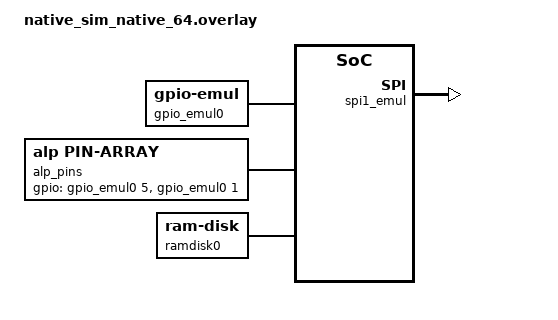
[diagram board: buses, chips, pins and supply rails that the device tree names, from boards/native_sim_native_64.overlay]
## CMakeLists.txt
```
# SPDX-License-Identifier: Apache-2.0

cmake_minimum_required(VERSION 3.20)

# The E1M-EVK microSD slot (sdhc0 + the "SD" disk). native_sim has no SD host,
# so the build-only CI target skips the shield.
if(NOT "${BOARD}" MATCHES "^native_sim")
  list(APPEND SHIELD e1m_evk_microsd)
endif()

find_package(Zephyr REQUIRED HINTS $ENV{ZEPHYR_BASE})
project(aen_sdcard_file LANGUAGES C)

target_sources(app PRIVATE src/main.c)
target_sources(app PRIVATE src/cc3501e_bridge.c)
target_sources(app PRIVATE src/cc3501e_gpio_routes.c)
```

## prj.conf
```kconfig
# SPDX-License-Identifier: Apache-2.0
#
# aen-sdcard-file: FatFs on the E1M-EVK microSD slot.
#
# The SD host + the "SD" disk come from the e1m_evk_microsd shield (set in
# CMakeLists.txt); FatFs itself comes from `libraries: [fatfs]` in
# board.yaml. SPI/GPIO for the CC3501E bridge come from `peripherals:`.
CONFIG_PRINTK=y
CONFIG_LOG=y
CONFIG_MAIN_STACK_SIZE=8192

# The link address comes from each board's code partition
# (CONFIG_USE_DT_CODE_PARTITION): HE slot0 0x80010000, HP slot0 per board.

# The SDIO mux enable (E1M IO20) is a CC3501E GPIO: route alp_gpio through
# the bridge (cc3501e_gpio_routes[] in src/cc3501e_gpio_routes.c).
CONFIG_ALP_SDK_GPIO_CC3501E_PROXY=y

# exFAT: most microSDXC cards (> 32 GB) ship formatted exFAT, and exFAT
# needs long file names. Neither is on by default in Zephyr.
CONFIG_FS_FATFS_EXFAT=y
CONFIG_FS_FATFS_LFN=y
# Never format a card that fails to mount -- report the error instead.
CONFIG_FS_FATFS_MOUNT_MKFS=n

# Bridge SPI: keep every phase on PIO (see aen-cc3501e-bringup/prj.conf for
# the measurements behind this threshold).
CONFIG_DMA=y
CONFIG_DMA_PL330_ALIF=y
CONFIG_DMA_ALIF_EVENT_ROUTER=y
CONFIG_SPI_DW_ALIF_USE_DMA=y
CONFIG_SPI_DW_ALIF_DMA_MIN_LEN=8192
CONFIG_SPI_DW_ALIF_PACK32=y
```

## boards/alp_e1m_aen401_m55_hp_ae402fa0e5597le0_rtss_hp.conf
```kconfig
# SPDX-License-Identifier: Apache-2.0
#
# E1M-AEN401 (Ensemble E4, M55-HP).  The bridge runs in PIO mode on the E4 (the
# 2026-10-12 AEN401 bench run): dma0 / evtrtr0 are not verified there.
CONFIG_DMA=n
CONFIG_SPI_DW_ALIF_USE_DMA=n
```

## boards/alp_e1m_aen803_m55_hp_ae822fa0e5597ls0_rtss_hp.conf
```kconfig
# SPDX-License-Identifier: Apache-2.0
#
# M55-HP: the CC3501E bridge runs in PIO mode (see the overlay).
CONFIG_DMA=n
CONFIG_SPI_DW_ALIF_USE_DMA=n
```

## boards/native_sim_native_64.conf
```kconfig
# SPDX-License-Identifier: Apache-2.0
#
# native_sim has no real SPI controller; pull in the emul SPI driver so
# the alp-spi1 bus enumerates at boot.  Auto-loaded by Zephyr when
# building for native_sim/native/64.  (On the real AEN board the alp-spi1
# alias resolves to the dwc-ssi SPI1 controller instead -- see
# boards/alp_e1m_aen801_m55_he_ae822fa0e5597ls0_rtss_he.overlay.)

CONFIG_EMUL=y
CONFIG_SPI_EMUL=y
CONFIG_DISK_ACCESS=y
```

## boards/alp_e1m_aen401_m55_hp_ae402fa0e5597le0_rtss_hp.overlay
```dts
/*
 * Copyright (c) 2026 Alp Lab AB
 * SPDX-License-Identifier: Apache-2.0
 *
 * Inter-chip wiring for the microSD file example on the E1M-AEN401 (Alif
 * Ensemble E4, M55-HP).  Declares the SoM-internal Alif<->CC3501E link:
 * the SPI1 master bus + the two host-driven control nets, all from
 * metadata/e1m_modules/aen/inter-chip.tsv:
 *
 *   SPI1.SCK  P14_6   SPI1.MOSI P14_5   SPI1.MISO P14_4   (-> CC3501E GPIO_27/28/29)
 *   WIFI_EN   P15_5 (lpgpio 5)          E_WIFI.NRST P15_1_FLEX (lpgpio 1)
 *
 * "P15" is the Alif low-power GPIO island (lpgpio @ 0x42002000); the
 * _FLEX pads are its pins.  P14 is a main-domain port used here purely as
 * the SPI1 function via pinctrl, so no gpio14 controller node is needed.
 *
 * BENCH-UNVERIFIED.  Like the rest of the alp-sdk Alif peripheral layer
 * (zephyr/dts/alif/ensemble_e8_peripherals.dtsi), the addresses/IRQs are
 * transcribed from the Apache-2.0 alifsemi/zephyr_alif fork + the AE822
 * TRM and have NOT been validated on silicon.  The SPI1 pinctrl macros are
 * RESOLVED against zephyr/dt-bindings/pinctrl/alif-ensemble-pinctrl.h
 * (SPI1 on P14_4/5/6 = alt-2, the `_C` suffix) and the LP-GPIO mux is the
 * reset default (alt-0 = LPGPIO); the one remaining genuine unknown is the
 * SPI1 IRQ number (upstream Zephyr declares no SPI node, so it is not in
 * the build tree) -- confirm it against the AE822 TRM before relying on
 * the interrupt-driven path on silicon.
 *
 * The on-module EEPROM manifest bus (i2c2, `alp-i2c0`) comes from the board
 * layer (alp_e1m_aen401_m55_hp-on-module.dtsi + -pinctrl.dtsi), not from here.
 */

#include <zephyr/dt-bindings/pinctrl/alif-ensemble-pinctrl.h>
#include <zephyr/dt-bindings/gpio/gpio.h>
#include <zephyr/dt-bindings/i2c/i2c.h>

&pinctrl {
	/*
	 * SPI1 master on P14_6 (SCK) / P14_5 (MOSI) / P14_4 (MISO).
	 *
	 * RESOLVED against alif-ensemble-pinctrl.h: the SPI1 functions on these
	 * three pads are alt-2, named with the `_C` suffix
	 * (PIN_P14_6__SPI1_SCLK_C = ALIF_PINMUX(14, 6, 2), etc.).  input-enable
	 * on MISO so the pad can sense the slave's drive (the same read-enable
	 * requirement the I2C pads need on this SoC).
	 */
	pinctrl_spi1: pinctrl_spi1 {
		group0 {
			/* Hardware SS0 chip-select (P14_7 = SPI1_SS0_C) -- dwc-ssi master
			 * drives SS0 per transfer to frame the CC3501E slave. */
			pinmux = <PIN_P14_6__SPI1_SCLK_C>, <PIN_P14_5__SPI1_MOSI_C>,
				 <PIN_P14_7__SPI1_SS0_C>;
		};
		group1 {
			pinmux = <PIN_P14_4__SPI1_MISO_C>;
			input-enable;
		};

		/*
		 * P2_6 (E1M AH7 / I2S1_SCLK) is muxed as a plain GPIO input here -- but NOT for
		 * the cc3501e_reply_gate() READY use (cc3501e_bridge.c does not wire
		 * fw->ready_pin: on the R2 module this bench currently holds, P2_6
		 * is E1M pad AH7 / I2S1_SCLK, the EVK's Arduino CK_RST net, NOT CC35's
		 * GPIO17 READY -- see cc3501e_reply_gate()'s own doc comment in
		 * chips/cc3501e/cc3501e_core.c). This group exists ONLY for the
		 * alp,cc3501e-attn node below, which reads the same pad directly for
		 * the async-event attention edge (#1721/#130) -- a separate mechanism
		 * from the reply-gate.
		 *
		 * REVISION CAVEAT: the "clean 1.767 V line idling HIGH with narrow LOW
		 * pulses" once measured here (scope 2026-08-24) was on a separately
		 * hand-reworked r1 unit (its own serial was never recorded -- see
		 * changelog.d/1799.md) where GPIO17 really was bodge-wired to P2_6 --
		 * not evidence for the R2 module. On a standard R2 module this pad is
		 * not connected to the CC3501E at all, so the attn node below will
		 * simply never fire; it costs nothing to leave enabled.
		 *
		 * On Alif the pad INPUT BUFFER is a PADCTRL bit that only pinctrl sets
		 * -- gpio_dw drives direction in the controller and never touches the
		 * pad, and snps,designware-gpio has no pinctrl-0 property of its own --
		 * so without this group alp_gpio_read(P2_6) would read 0 forever
		 * regardless of what (if anything) drives it. It lives HERE rather than
		 * in a standalone state applied at runtime because P2_6's alternate
		 * function is SPI1_SCLK_A: a second pinctrl pass after SPI1 is up
		 * killed the bridge on silicon. In the SPI driver's single init pass it
		 * is inert.
		 */
		group2 {
			pinmux = <PIN_P2_6__GPIO>;
			input-enable;
		};
	};
};

/*
 * DWC_ssi SPI1 (AHB) -- the on-SoM CC3501E inter-chip link.  Deliberately
 * NOT in ensemble_e8_peripherals.dtsi (that dtsi declares only the
 * customer-facing edge SPI0); this is the SoM-internal Wi-Fi link, so it
 * lives in the consuming app's overlay.  Same driver + flags as spi0
 * (compatible "alif,dwc-ssi-spi", dwc-ssi layout, fifo-depth 16,
 * frequency-only ALIF_SPI_CLK).
 *
 * reg 0x48104000 = SPI1 base (spi0 is 0x48103000, +0x1000/instance).
 * BENCH-TBD: interrupts = <138 3> follows the consecutive pattern from
 * spi0's IRQ 137 -- confirm SPI1_IRQ against the fork's e1.dtsi / TRM.
 *
 * No cs-gpios: P14_7 is muxed as SPI1_SS0_C above and the dwc-ssi peripheral
 * drives hardware SS0 per transfer.  The host opens ALP_SPI_NO_CS so no GPIO CS
 * is installed, allowing the SPI driver to use its hardware slave-select path.
 */
&clockctrl {
	status = "okay";
};

&soc {
	cc3501e_spi: spi@48104000 {
		compatible = "alif,dwc-ssi-spi";
		#address-cells = <1>;
		#size-cells = <0>;
		reg = <0x48104000 0x1000>;
		interrupts = <138 3>;          /* SPI1_IRQ_IRQn = 138 (AE402 rtss_hp soc.h) */
		clocks = <&clockctrl ALIF_SPI_CLK>;
		/*
		 * ROOT-CAUSE FIX 2026-06-16: spi_dw_alif's configure takes the
		 * clock-control path when no clock-frequency is set, and that path
		 * fails (-EINVAL) for the gateless dummy ALIF_SPI_CLK -> every
		 * transceive returned ALP_ERR_INVAL with zero SCLK (witness fail_step=1,
		 * zerr=-EINVAL). Providing the SSI input clock here makes the driver
		 * use it directly and skip the failing clock-control path. The SSI
		 * functional clock is 200 MHz (E8 HWRM); BAUDR = clk/freq_hz.
		 */
		clock-frequency = <200000000>; /* real SSI functional clock (was mis-set 400M; proven via BAUDR scaling) */
		dwc-ssi;
		fifo-depth = <16>;
		/* MISO capture delay in SSI clocks -- INERT here, and NOT what the link
		 * runs at.  spi_dw_alif.c writes RX_SAMPLE_DLY (0xf0) from this property
		 * at init and at PM resume only; spi_dw_configure never touches the
		 * register, so src/cc3501e_bridge.c's poke right after alp_spi_open()
		 * overwrites this value with CC3501E_BRIDGE_RX_SAMPLE_DLY.
		 *
		 * It is kept because that poke is guarded on the constant being non-zero:
		 * set the constant to 0 and this property is what survives.
		 *
		 * The earlier claim here -- that 0 "fails outright" and 4 "fails too" --
		 * is contradicted by the N = 0..10 sweep on E1M-AEN803 serial
		 * 2026W36-0002 at 25 MHz: 0 and 4 each passed 3 runs of 3, and 8 is the
		 * value that hard-fails.  Sweep the constant, not this property; the
		 * measurements are recorded in src/cc3501e_bridge.h. */
		rx-delay = <2>;
		pinctrl-0 = <&pinctrl_spi1>;
		pinctrl-names = "default";
		status = "okay";
	};
};

/*
 * Enable the LP GPIO island so WIFI_EN (P15_5) and E_WIFI.NRST
 * (P15_1_FLEX) are drivable as outputs.  gpio_dw needs no clocks/pinctrl
 * on the controller, and the pad->GPIO mux needs no pinctrl group either:
 * RESOLVED against alif-ensemble-pinctrl.h -- P15_1/P15_5 function 0 (the
 * reset default) IS LPGPIO (PIN_P15_x__LPGPIO = ALIF_PINMUX(15, x, 0)).
 */
&lpgpio {
	status = "okay";
};

/*
 * gpio2 (P2_6) for the alp,cc3501e-attn async-event node below -- NOT the
 * cc3501e_reply_gate() READY input: P2_6 is not CC35 GPIO17 on this R2
 * module (see the pinctrl_spi1 group2 comment above). P2_6's reset-default
 * mux IS function 0 = GPIO (PIN_P2_6__GPIO), but the pad still needs an
 * input-enable group to turn its INPUT BUFFER on -- that lives in
 * pinctrl_spi1 group2 above. gpio_dw defaults the pin to input. */
&gpio2 {
	status = "okay";
};

/*
 * No bridge DMA on the E4: the CC3501E link, the EEPROM read and the 4-bit SD
 * card were bench-run on an E1M-AEN401 M55-HP on 2026-10-12 with the bridge in
 * PIO mode; dma0 / evtrtr0 exist in ensemble_e4_peripherals.dtsi but are not
 * verified on the E4.
 */

/ {
	aliases {
		/* bus_id 1 in alp_spi_open() -> this controller. */
		alp-spi1 = &cc3501e_spi;

		/*
		 * Attention line for CONFIG_ALP_SDK_CC3501E_EVENT_IRQ (#130): the
		 * companion console's edge ISR schedules a GET_PENDING_EVENTS drain
		 * instead of waiting for the ~500 ms timer poll.
		 *
		 * SAME PIN &gpio2 6 (P2_6) the pinctrl group2 comment above enables --
		 * there is no `alp_pins[2]` entry for it (cc3501e_bridge.c does not
		 * wire fw->ready_pin on this R2 module; see that comment).  On a unit
		 * where this net genuinely carries CC35 GPIO17 -- a hand-reworked r1
		 * unit, not the stock R2 module -- there is one slave->master wire and
		 * it already carries READY flow control; the firmware (built with
		 * CC3501E_ATTN_PULSE) gives it an edge when an event is queued while
		 * the bridge is idle.  Draining on ANY rising edge is safe -- an empty
		 * ring answers with an empty list -- so the host never has to tell
		 * attention from an ordinary re-arm.
		 *
		 * BODGE-GATED: this net is a rev-1 wire, absent on the stock EVK,
		 * which is why CONFIG_ALP_SDK_CC3501E_EVENT_IRQ stays default-off.
		 * The alias existing does nothing on its own.
		 */
		cc3501e-attn = &cc3501e_attn;
	};

	/* Node the cc3501e-attn alias points at; `gpios` is what
	 * GPIO_DT_SPEC_GET(DT_ALIAS(cc3501e_attn), gpios) reads. */
	/* NO compatible: GPIO_DT_SPEC_GET() only needs the `gpios` phandle-array.
	 * Declaring "alp,pin-array" here made a SECOND node of that compatible and
	 * broke the SDK's pin-array resolution outright -- bridge bring-up failed
	 * with err=-1 ("SPI bus 1 / WIFI_EN+nRESET absent?") because alp_pins no
	 * longer resolved. Bench-caught 2026-08-26. */
	cc3501e_attn: cc3501e-attn {
		compatible = "alp,cc3501e-attn";
		gpios = <&gpio2 6 GPIO_ACTIVE_HIGH>;
	};

	/*
	 * Compact 2-entry control array for the SoM-internal CC3501E control
	 * nets, in the order the app's CC3501E_PIN_* indices expect.  These are
	 * NOT E1M edge pads, so this bring-up app intentionally does NOT use the
	 * 52-slot positional E1M map; a production board file appends such
	 * SoM-internal control nets after the E1M pad slots.  No READY entry
	 * here -- P2_6/&gpio2 stays enabled above only for the cc3501e-attn node,
	 * which reads it directly, not through this array. */
	alp_pins: alp-pins {
		compatible = "alp,pin-array";
		gpios = <&lpgpio 5 GPIO_ACTIVE_HIGH>, /* [0] WIFI_EN     (P15_5)      */
			<&lpgpio 1 GPIO_ACTIVE_HIGH>; /* [1] E_WIFI.NRST (P15_1_FLEX) */
	};
};

/*
 * The M55-HP TCM global windows (ITCM 0x50000000, DTCM 0x50800000) come from
 * the board devicetree; nothing to add here.
 */
```

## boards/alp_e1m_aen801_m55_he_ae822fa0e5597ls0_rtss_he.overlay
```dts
/*
 * Copyright (c) 2026 Alp Lab AB
 * SPDX-License-Identifier: Apache-2.0
 *
 * Inter-chip wiring for the microSD file example on the E1M-AEN801 (Alif
 * Ensemble E8, M55-HE).  Declares the SoM-internal Alif<->CC3501E link:
 * the SPI1 master bus + the two host-driven control nets, all from
 * metadata/e1m_modules/aen/inter-chip.tsv:
 *
 *   SPI1.SCK  P14_6   SPI1.MOSI P14_5   SPI1.MISO P14_4   (-> CC3501E GPIO_27/28/29)
 *   WIFI_EN   P15_5 (lpgpio 5)          E_WIFI.NRST P15_1_FLEX (lpgpio 1)
 *
 * "P15" is the Alif low-power GPIO island (lpgpio @ 0x42002000); the
 * _FLEX pads are its pins.  P14 is a main-domain port used here purely as
 * the SPI1 function via pinctrl, so no gpio14 controller node is needed.
 *
 * BENCH-UNVERIFIED.  Like the rest of the alp-sdk Alif peripheral layer
 * (zephyr/dts/alif/ensemble_e8_peripherals.dtsi), the addresses/IRQs are
 * transcribed from the Apache-2.0 alifsemi/zephyr_alif fork + the AE822
 * TRM and have NOT been validated on silicon.  The SPI1 pinctrl macros are
 * RESOLVED against zephyr/dt-bindings/pinctrl/alif-ensemble-pinctrl.h
 * (SPI1 on P14_4/5/6 = alt-2, the `_C` suffix) and the LP-GPIO mux is the
 * reset default (alt-0 = LPGPIO); the one remaining genuine unknown is the
 * SPI1 IRQ number (upstream Zephyr declares no SPI node, so it is not in
 * the build tree) -- confirm it against the AE822 TRM before relying on
 * the interrupt-driven path on silicon.
 *
 * Also enables i2c2 (P5_6 SCL_C / P5_7 SDA_C) + the `alp-i2c0` alias -- the
 * on-module EEPROM manifest bus alp_hw_info_read() opens as bus_id 0.
 * Without it the manifest read structurally cannot succeed and the banner
 * falls back to the raw board target instead of the SoM identity; see #1870.
 * Same pinctrl (input-enable + bias-pull-down) as
 * examples/peripheral-io/alp-console's bench-validated overlay -- do NOT
 * "correct" the pull direction.
 */

#include <zephyr/dt-bindings/pinctrl/alif-ensemble-pinctrl.h>
#include <zephyr/dt-bindings/gpio/gpio.h>
#include <zephyr/dt-bindings/dma/alif_dma_event_router.h>
#include <zephyr/dt-bindings/i2c/i2c.h>

&pinctrl {
	/*
	 * SPI1 master on P14_6 (SCK) / P14_5 (MOSI) / P14_4 (MISO).
	 *
	 * RESOLVED against alif-ensemble-pinctrl.h: the SPI1 functions on these
	 * three pads are alt-2, named with the `_C` suffix
	 * (PIN_P14_6__SPI1_SCLK_C = ALIF_PINMUX(14, 6, 2), etc.).  input-enable
	 * on MISO so the pad can sense the slave's drive (the same read-enable
	 * requirement the I2C pads need on this SoC).
	 */
	pinctrl_spi1: pinctrl_spi1 {
		group0 {
			/* Hardware SS0 chip-select (P14_7 = SPI1_SS0_C) -- dwc-ssi master
			 * drives SS0 per transfer to frame the CC3501E slave. */
			pinmux = <PIN_P14_6__SPI1_SCLK_C>, <PIN_P14_5__SPI1_MOSI_C>,
				 <PIN_P14_7__SPI1_SS0_C>;
		};
		group1 {
			pinmux = <PIN_P14_4__SPI1_MISO_C>;
			input-enable;
		};

		/*
		 * P2_6 (E1M AH7 / I2S1_SCLK) is muxed as a plain GPIO input here -- but NOT for
		 * the cc3501e_reply_gate() READY use (cc3501e_bridge.c does not wire
		 * fw->ready_pin: on the R2 module this bench currently holds, P2_6
		 * is E1M pad AH7 / I2S1_SCLK, the EVK's Arduino CK_RST net, NOT CC35's
		 * GPIO17 READY -- see cc3501e_reply_gate()'s own doc comment in
		 * chips/cc3501e/cc3501e_core.c). This group exists ONLY for the
		 * alp,cc3501e-attn node below, which reads the same pad directly for
		 * the async-event attention edge (#1721/#130) -- a separate mechanism
		 * from the reply-gate.
		 *
		 * REVISION CAVEAT: the "clean 1.767 V line idling HIGH with narrow LOW
		 * pulses" once measured here (scope 2026-08-24) was on a separately
		 * hand-reworked r1 unit (its own serial was never recorded -- see
		 * changelog.d/1799.md) where GPIO17 really was bodge-wired to P2_6 --
		 * not evidence for the R2 module. On a standard R2 module this pad is
		 * not connected to the CC3501E at all, so the attn node below will
		 * simply never fire; it costs nothing to leave enabled.
		 *
		 * On Alif the pad INPUT BUFFER is a PADCTRL bit that only pinctrl sets
		 * -- gpio_dw drives direction in the controller and never touches the
		 * pad, and snps,designware-gpio has no pinctrl-0 property of its own --
		 * so without this group alp_gpio_read(P2_6) would read 0 forever
		 * regardless of what (if anything) drives it. It lives HERE rather than
		 * in a standalone state applied at runtime because P2_6's alternate
		 * function is SPI1_SCLK_A: a second pinctrl pass after SPI1 is up
		 * killed the bridge on silicon. In the SPI driver's single init pass it
		 * is inert.
		 */
		group2 {
			pinmux = <PIN_P2_6__GPIO>;
			input-enable;
		};
	};

	/* I2C2 master (EEPROM manifest bus): SCL P5_6 / SDA P5_7 (_C).  Same
	 * pad config as alp-console's bench-validated overlay -- input-enable
	 * for ACK-detect, bias-pull-down (the pad DSC value Alif's reference
	 * uses; the bus is pulled up on the carrier via R95/R96). */
	pinctrl_i2c2: pinctrl_i2c2 {
		group0 {
			pinmux = <PIN_P5_6__I2C2_SCL_C>, <PIN_P5_7__I2C2_SDA_C>;
			input-enable;
			bias-pull-down;
		};
	};
};

/*
 * DWC_ssi SPI1 (AHB) -- the on-SoM CC3501E inter-chip link.  Deliberately
 * NOT in ensemble_e8_peripherals.dtsi (that dtsi declares only the
 * customer-facing edge SPI0); this is the SoM-internal Wi-Fi link, so it
 * lives in the consuming app's overlay.  Same driver + flags as spi0
 * (compatible "alif,dwc-ssi-spi", dwc-ssi layout, fifo-depth 16,
 * frequency-only ALIF_SPI_CLK).
 *
 * reg 0x48104000 = SPI1 base (spi0 is 0x48103000, +0x1000/instance).
 * BENCH-TBD: interrupts = <138 3> follows the consecutive pattern from
 * spi0's IRQ 137 -- confirm SPI1_IRQ against the fork's e1.dtsi / TRM.
 *
 * No cs-gpios: P14_7 is muxed as SPI1_SS0_C above and the dwc-ssi peripheral
 * drives hardware SS0 per transfer.  The host opens ALP_SPI_NO_CS so no GPIO CS
 * is installed, allowing the SPI driver to use its hardware slave-select path.
 */
&clockctrl {
	status = "okay";
};

&soc {
	cc3501e_spi: spi@48104000 {
		compatible = "alif,dwc-ssi-spi";
		#address-cells = <1>;
		#size-cells = <0>;
		reg = <0x48104000 0x1000>;
		interrupts = <138 3>;          /* BENCH-TBD: confirm SPI1 IRQ */
		clocks = <&clockctrl ALIF_SPI_CLK>;
		/*
		 * ROOT-CAUSE FIX 2026-06-16: spi_dw_alif's configure takes the
		 * clock-control path when no clock-frequency is set, and that path
		 * fails (-EINVAL) for the gateless dummy ALIF_SPI_CLK -> every
		 * transceive returned ALP_ERR_INVAL with zero SCLK (witness fail_step=1,
		 * zerr=-EINVAL). Providing the SSI input clock here makes the driver
		 * use it directly and skip the failing clock-control path. The SSI
		 * functional clock is 200 MHz (E8 HWRM); BAUDR = clk/freq_hz.
		 */
		clock-frequency = <200000000>; /* real SSI functional clock (was mis-set 400M; proven via BAUDR scaling) */
		dwc-ssi;
		fifo-depth = <16>;
		/* MISO capture delay in SSI clocks -- INERT here, and NOT what the link
		 * runs at.  spi_dw_alif.c writes RX_SAMPLE_DLY (0xf0) from this property
		 * at init and at PM resume only; spi_dw_configure never touches the
		 * register, so src/cc3501e_bridge.c's poke right after alp_spi_open()
		 * overwrites this value with CC3501E_BRIDGE_RX_SAMPLE_DLY.
		 *
		 * It is kept because that poke is guarded on the constant being non-zero:
		 * set the constant to 0 and this property is what survives.
		 *
		 * The earlier claim here -- that 0 "fails outright" and 4 "fails too" --
		 * is contradicted by the N = 0..10 sweep on E1M-AEN803 serial
		 * 2026W36-0002 at 25 MHz: 0 and 4 each passed 3 runs of 3, and 8 is the
		 * value that hard-fails.  Sweep the constant, not this property; the
		 * measurements are recorded in src/cc3501e_bridge.h. */
		rx-delay = <2>;
		pinctrl-0 = <&pinctrl_spi1>;
		pinctrl-names = "default";
		status = "okay";
	};
};

/*
 * Enable the LP GPIO island so WIFI_EN (P15_5) and E_WIFI.NRST
 * (P15_1_FLEX) are drivable as outputs.  gpio_dw needs no clocks/pinctrl
 * on the controller, and the pad->GPIO mux needs no pinctrl group either:
 * RESOLVED against alif-ensemble-pinctrl.h -- P15_1/P15_5 function 0 (the
 * reset default) IS LPGPIO (PIN_P15_x__LPGPIO = ALIF_PINMUX(15, x, 0)).
 */
&lpgpio {
	status = "okay";
};

/*
 * gpio2 (P2_6) for the alp,cc3501e-attn async-event node below -- NOT the
 * cc3501e_reply_gate() READY input: P2_6 is not CC35 GPIO17 on this R2
 * module (see the pinctrl_spi1 group2 comment above). P2_6's reset-default
 * mux IS function 0 = GPIO (PIN_P2_6__GPIO), but the pad still needs an
 * input-enable group to turn its INPUT BUFFER on -- that lives in
 * pinctrl_spi1 group2 above. gpio_dw defaults the pin to input. */
&gpio2 {
	status = "okay";
};

/*
 * Host-side peripheral DMA for continuous SPI streams over the CC3501E bridge.
 * SPI1 is a MAIN-domain peripheral, so per the AE822 DFP soc_dma_map (SPI1_DMA=0,
 * group 2, TX req 21 / RX req 17) it routes through the SYSTOP DMA0 via its event
 * router evtrtr0 (4 groups -> group 2 valid) -- NOT the M55-HE-local DMA2/evtrtr2
 * (1 group, for LP peripherals; wiring SPI1 there leaves the channel Waiting-For-
 * Peripheral forever -- SPI1's request line isn't on the HE router).  DMA0's clock
 * is SYSTOP (already on -- the app drives SPI1/GPIO in the same region); its
 * PL330 boot-manager security latch (CLKCTRL_PER_MST) is in dma_alif_boot_latch.c.
 * The fork PL330 driver statically allocates the per-channel ucode + remaps it via
 * local_to_global(), so no external `microcode` prop is needed.
 *
 * dma0 + evtrtr0 are now declared in ensemble_e8_peripherals.dtsi (disabled
 * by default, alp-sdk issue #1815); this overlay only enables them.
 */
&dma0 {
	status = "okay";
};

&evtrtr0 {
	status = "okay";
};

/*
 * Route the bridge SPI1 through evtrtr0 to DMA0.  Cell encoding
 * (ALIF_DMA_ENCODE(channel, dma_group, handshake), periph_req):
 *   TX = PL330 ch2, evtrtr group 2, handshake on, SPI1 TX periph req 21
 *   RX = PL330 ch3, evtrtr group 2, handshake on, SPI1 RX periph req 17
 * (AE822 DFP soc_dma_map.h: SPI1 group 2, TX 21 / RX 17.)
 */
&cc3501e_spi {
	dmas = <&evtrtr0 ALIF_DMA_ENCODE(2, 2, 1) 21>,
	       <&evtrtr0 ALIF_DMA_ENCODE(3, 2, 1) 17>;
	dma-names = "txdma", "rxdma";
};

&i2c2 {
	status = "okay";
	pinctrl-0 = <&pinctrl_i2c2>;
	pinctrl-names = "default";
	clock-frequency = <I2C_BITRATE_STANDARD>;   /* 100 kHz */
};

/ {
	aliases {
		/* bus_id 1 in alp_spi_open() -> this controller. */
		alp-spi1 = &cc3501e_spi;
		alp-i2c0 = &i2c2;   /* bus 0 for alp_hw_info_read() -> EEPROM manifest */

		/*
		 * Attention line for CONFIG_ALP_SDK_CC3501E_EVENT_IRQ (#130): the
		 * companion console's edge ISR schedules a GET_PENDING_EVENTS drain
		 * instead of waiting for the ~500 ms timer poll.
		 *
		 * SAME PIN &gpio2 6 (P2_6) the pinctrl group2 comment above enables --
		 * there is no `alp_pins[2]` entry for it (cc3501e_bridge.c does not
		 * wire fw->ready_pin on this R2 module; see that comment).  On a unit
		 * where this net genuinely carries CC35 GPIO17 -- a hand-reworked r1
		 * unit, not the stock R2 module -- there is one slave->master wire and
		 * it already carries READY flow control; the firmware (built with
		 * CC3501E_ATTN_PULSE) gives it an edge when an event is queued while
		 * the bridge is idle.  Draining on ANY rising edge is safe -- an empty
		 * ring answers with an empty list -- so the host never has to tell
		 * attention from an ordinary re-arm.
		 *
		 * BODGE-GATED: this net is a rev-1 wire, absent on the stock EVK,
		 * which is why CONFIG_ALP_SDK_CC3501E_EVENT_IRQ stays default-off.
		 * The alias existing does nothing on its own.
		 */
		cc3501e-attn = &cc3501e_attn;
	};

	/* Node the cc3501e-attn alias points at; `gpios` is what
	 * GPIO_DT_SPEC_GET(DT_ALIAS(cc3501e_attn), gpios) reads. */
	/* NO compatible: GPIO_DT_SPEC_GET() only needs the `gpios` phandle-array.
	 * Declaring "alp,pin-array" here made a SECOND node of that compatible and
	 * broke the SDK's pin-array resolution outright -- bridge bring-up failed
	 * with err=-1 ("SPI bus 1 / WIFI_EN+nRESET absent?") because alp_pins no
	 * longer resolved. Bench-caught 2026-08-26. */
	cc3501e_attn: cc3501e-attn {
		compatible = "alp,cc3501e-attn";
		gpios = <&gpio2 6 GPIO_ACTIVE_HIGH>;
	};

	/*
	 * Compact 2-entry control array for the SoM-internal CC3501E control
	 * nets, in the order the app's CC3501E_PIN_* indices expect.  These are
	 * NOT E1M edge pads, so this bring-up app intentionally does NOT use the
	 * 52-slot positional E1M map; a production board file appends such
	 * SoM-internal control nets after the E1M pad slots.  No READY entry
	 * here -- P2_6/&gpio2 stays enabled above only for the cc3501e-attn node,
	 * which reads it directly, not through this array. */
	alp_pins: alp-pins {
		compatible = "alp,pin-array";
		gpios = <&lpgpio 5 GPIO_ACTIVE_HIGH>, /* [0] WIFI_EN     (P15_5)      */
			<&lpgpio 1 GPIO_ACTIVE_HIGH>; /* [1] E_WIFI.NRST (P15_1_FLEX) */
	};
};

/*
 * Global-bus aliases of the M55-HE TCMs, needed by hal_alif soc_memory_map.h
 * local_to_global() -- the PL330 (AXI master) reaches TCM-resident buffers only
 * via these global windows.  Values from the AE822 M55-HE map (sdk-alif fork
 * ensemble_rtss_he.dtsi): ITCM 0x0->0x58000000, DTCM 0x20000000->0x58800000.
 * (DMA stream buffers still belong in SRAM0 0x02000000, which is already global
 * -> local_to_global() returns it unchanged.)
 */
```

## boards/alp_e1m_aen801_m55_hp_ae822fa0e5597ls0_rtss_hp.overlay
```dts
/*
 * Copyright (c) 2026 Alp Lab AB
 * SPDX-License-Identifier: Apache-2.0
 *
 * Inter-chip wiring for the microSD file example on the E1M-AEN801 (Alif
 * Ensemble E8, M55-HP).  Declares the SoM-internal Alif<->CC3501E link:
 * the SPI1 master bus + the two host-driven control nets, all from
 * metadata/e1m_modules/aen/inter-chip.tsv:
 *
 *   SPI1.SCK  P14_6   SPI1.MOSI P14_5   SPI1.MISO P14_4   (-> CC3501E GPIO_27/28/29)
 *   WIFI_EN   P15_5 (lpgpio 5)          E_WIFI.NRST P15_1_FLEX (lpgpio 1)
 *
 * "P15" is the Alif low-power GPIO island (lpgpio @ 0x42002000); the
 * _FLEX pads are its pins.  P14 is a main-domain port used here purely as
 * the SPI1 function via pinctrl, so no gpio14 controller node is needed.
 *
 * BENCH-UNVERIFIED.  Like the rest of the alp-sdk Alif peripheral layer
 * (zephyr/dts/alif/ensemble_e8_peripherals.dtsi), the addresses/IRQs are
 * transcribed from the Apache-2.0 alifsemi/zephyr_alif fork + the AE822
 * TRM and have NOT been validated on silicon.  The SPI1 pinctrl macros are
 * RESOLVED against zephyr/dt-bindings/pinctrl/alif-ensemble-pinctrl.h
 * (SPI1 on P14_4/5/6 = alt-2, the `_C` suffix) and the LP-GPIO mux is the
 * reset default (alt-0 = LPGPIO); the one remaining genuine unknown is the
 * SPI1 IRQ number (upstream Zephyr declares no SPI node, so it is not in
 * the build tree) -- confirm it against the AE822 TRM before relying on
 * the interrupt-driven path on silicon.
 *
 * Also enables i2c2 (P5_6 SCL_C / P5_7 SDA_C) + the `alp-i2c0` alias -- the
 * on-module EEPROM manifest bus alp_hw_info_read() opens as bus_id 0.
 * Without it the manifest read structurally cannot succeed and the banner
 * falls back to the raw board target instead of the SoM identity; see #1870.
 * Same pinctrl (input-enable + bias-pull-down) as
 * examples/peripheral-io/alp-console's bench-validated overlay -- do NOT
 * "correct" the pull direction.
 */

#include <zephyr/dt-bindings/pinctrl/alif-ensemble-pinctrl.h>
#include <zephyr/dt-bindings/gpio/gpio.h>
#include <zephyr/dt-bindings/i2c/i2c.h>

&pinctrl {
	/*
	 * SPI1 master on P14_6 (SCK) / P14_5 (MOSI) / P14_4 (MISO).
	 *
	 * RESOLVED against alif-ensemble-pinctrl.h: the SPI1 functions on these
	 * three pads are alt-2, named with the `_C` suffix
	 * (PIN_P14_6__SPI1_SCLK_C = ALIF_PINMUX(14, 6, 2), etc.).  input-enable
	 * on MISO so the pad can sense the slave's drive (the same read-enable
	 * requirement the I2C pads need on this SoC).
	 */
	pinctrl_spi1: pinctrl_spi1 {
		group0 {
			/* Hardware SS0 chip-select (P14_7 = SPI1_SS0_C) -- dwc-ssi master
			 * drives SS0 per transfer to frame the CC3501E slave. */
			pinmux = <PIN_P14_6__SPI1_SCLK_C>, <PIN_P14_5__SPI1_MOSI_C>,
				 <PIN_P14_7__SPI1_SS0_C>;
		};
		group1 {
			pinmux = <PIN_P14_4__SPI1_MISO_C>;
			input-enable;
		};

		/*
		 * P2_6 (E1M AH7 / I2S1_SCLK) is muxed as a plain GPIO input here -- but NOT for
		 * the cc3501e_reply_gate() READY use (cc3501e_bridge.c does not wire
		 * fw->ready_pin: on the R2 module this bench currently holds, P2_6
		 * is E1M pad AH7 / I2S1_SCLK, the EVK's Arduino CK_RST net, NOT CC35's
		 * GPIO17 READY -- see cc3501e_reply_gate()'s own doc comment in
		 * chips/cc3501e/cc3501e_core.c). This group exists ONLY for the
		 * alp,cc3501e-attn node below, which reads the same pad directly for
		 * the async-event attention edge (#1721/#130) -- a separate mechanism
		 * from the reply-gate.
		 *
		 * REVISION CAVEAT: the "clean 1.767 V line idling HIGH with narrow LOW
		 * pulses" once measured here (scope 2026-08-24) was on a separately
		 * hand-reworked r1 unit (its own serial was never recorded -- see
		 * changelog.d/1799.md) where GPIO17 really was bodge-wired to P2_6 --
		 * not evidence for the R2 module. On a standard R2 module this pad is
		 * not connected to the CC3501E at all, so the attn node below will
		 * simply never fire; it costs nothing to leave enabled.
		 *
		 * On Alif the pad INPUT BUFFER is a PADCTRL bit that only pinctrl sets
		 * -- gpio_dw drives direction in the controller and never touches the
		 * pad, and snps,designware-gpio has no pinctrl-0 property of its own --
		 * so without this group alp_gpio_read(P2_6) would read 0 forever
		 * regardless of what (if anything) drives it. It lives HERE rather than
		 * in a standalone state applied at runtime because P2_6's alternate
		 * function is SPI1_SCLK_A: a second pinctrl pass after SPI1 is up
		 * killed the bridge on silicon. In the SPI driver's single init pass it
		 * is inert.
		 */
		group2 {
			pinmux = <PIN_P2_6__GPIO>;
			input-enable;
		};
	};

	/* I2C2 master (EEPROM manifest bus): SCL P5_6 / SDA P5_7 (_C).  Same
	 * pad config as alp-console's bench-validated overlay -- input-enable
	 * for ACK-detect, bias-pull-down (the pad DSC value Alif's reference
	 * uses; the bus is pulled up on the carrier via R95/R96). */
	pinctrl_i2c2: pinctrl_i2c2 {
		group0 {
			pinmux = <PIN_P5_6__I2C2_SCL_C>, <PIN_P5_7__I2C2_SDA_C>;
			input-enable;
			bias-pull-down;
		};
	};
};

/*
 * DWC_ssi SPI1 (AHB) -- the on-SoM CC3501E inter-chip link.  Deliberately
 * NOT in ensemble_e8_peripherals.dtsi (that dtsi declares only the
 * customer-facing edge SPI0); this is the SoM-internal Wi-Fi link, so it
 * lives in the consuming app's overlay.  Same driver + flags as spi0
 * (compatible "alif,dwc-ssi-spi", dwc-ssi layout, fifo-depth 16,
 * frequency-only ALIF_SPI_CLK).
 *
 * reg 0x48104000 = SPI1 base (spi0 is 0x48103000, +0x1000/instance).
 * BENCH-TBD: interrupts = <138 3> follows the consecutive pattern from
 * spi0's IRQ 137 -- confirm SPI1_IRQ against the fork's e1.dtsi / TRM.
 *
 * No cs-gpios: P14_7 is muxed as SPI1_SS0_C above and the dwc-ssi peripheral
 * drives hardware SS0 per transfer.  The host opens ALP_SPI_NO_CS so no GPIO CS
 * is installed, allowing the SPI driver to use its hardware slave-select path.
 */
&clockctrl {
	status = "okay";
};

&soc {
	cc3501e_spi: spi@48104000 {
		compatible = "alif,dwc-ssi-spi";
		#address-cells = <1>;
		#size-cells = <0>;
		reg = <0x48104000 0x1000>;
		interrupts = <138 3>;          /* SPI1_IRQ_IRQn = 138 (AE822 rtss_hp soc.h) */
		clocks = <&clockctrl ALIF_SPI_CLK>;
		/*
		 * ROOT-CAUSE FIX 2026-06-16: spi_dw_alif's configure takes the
		 * clock-control path when no clock-frequency is set, and that path
		 * fails (-EINVAL) for the gateless dummy ALIF_SPI_CLK -> every
		 * transceive returned ALP_ERR_INVAL with zero SCLK (witness fail_step=1,
		 * zerr=-EINVAL). Providing the SSI input clock here makes the driver
		 * use it directly and skip the failing clock-control path. The SSI
		 * functional clock is 200 MHz (E8 HWRM); BAUDR = clk/freq_hz.
		 */
		clock-frequency = <200000000>; /* real SSI functional clock (was mis-set 400M; proven via BAUDR scaling) */
		dwc-ssi;
		fifo-depth = <16>;
		/* MISO capture delay in SSI clocks -- INERT here, and NOT what the link
		 * runs at.  spi_dw_alif.c writes RX_SAMPLE_DLY (0xf0) from this property
		 * at init and at PM resume only; spi_dw_configure never touches the
		 * register, so src/cc3501e_bridge.c's poke right after alp_spi_open()
		 * overwrites this value with CC3501E_BRIDGE_RX_SAMPLE_DLY.
		 *
		 * It is kept because that poke is guarded on the constant being non-zero:
		 * set the constant to 0 and this property is what survives.
		 *
		 * The earlier claim here -- that 0 "fails outright" and 4 "fails too" --
		 * is contradicted by the N = 0..10 sweep on E1M-AEN803 serial
		 * 2026W36-0002 at 25 MHz: 0 and 4 each passed 3 runs of 3, and 8 is the
		 * value that hard-fails.  Sweep the constant, not this property; the
		 * measurements are recorded in src/cc3501e_bridge.h. */
		rx-delay = <2>;
		pinctrl-0 = <&pinctrl_spi1>;
		pinctrl-names = "default";
		status = "okay";
	};
};

/*
 * Enable the LP GPIO island so WIFI_EN (P15_5) and E_WIFI.NRST
 * (P15_1_FLEX) are drivable as outputs.  gpio_dw needs no clocks/pinctrl
 * on the controller, and the pad->GPIO mux needs no pinctrl group either:
 * RESOLVED against alif-ensemble-pinctrl.h -- P15_1/P15_5 function 0 (the
 * reset default) IS LPGPIO (PIN_P15_x__LPGPIO = ALIF_PINMUX(15, x, 0)).
 */
&lpgpio {
	status = "okay";
};

/*
 * gpio2 (P2_6) for the alp,cc3501e-attn async-event node below -- NOT the
 * cc3501e_reply_gate() READY input: P2_6 is not CC35 GPIO17 on this R2
 * module (see the pinctrl_spi1 group2 comment above). P2_6's reset-default
 * mux IS function 0 = GPIO (PIN_P2_6__GPIO), but the pad still needs an
 * input-enable group to turn its INPUT BUFFER on -- that lives in
 * pinctrl_spi1 group2 above. gpio_dw defaults the pin to input. */
&gpio2 {
	status = "okay";
};

/*
 * No bridge DMA from the M55-HP: dma_alif_boot_latch.c (the DMA0 / DMA2 PL330
 * security latch, run whenever dma0 is enabled) also resets the M55-HE-local
 * DMA2 and the shared DMA0, which is only safe on the HE.  The bridge runs in
 * PIO mode here, as on the 2026-10-12 E1M-AEN401 M55-HP bench run.
 */

&i2c2 {
	status = "okay";
	pinctrl-0 = <&pinctrl_i2c2>;
	pinctrl-names = "default";
	clock-frequency = <I2C_BITRATE_STANDARD>;   /* 100 kHz */
};

/ {
	aliases {
		/* bus_id 1 in alp_spi_open() -> this controller. */
		alp-spi1 = &cc3501e_spi;
		alp-i2c0 = &i2c2;   /* bus 0 for alp_hw_info_read() -> EEPROM manifest */

		/*
		 * Attention line for CONFIG_ALP_SDK_CC3501E_EVENT_IRQ (#130): the
		 * companion console's edge ISR schedules a GET_PENDING_EVENTS drain
		 * instead of waiting for the ~500 ms timer poll.
		 *
		 * SAME PIN &gpio2 6 (P2_6) the pinctrl group2 comment above enables --
		 * there is no `alp_pins[2]` entry for it (cc3501e_bridge.c does not
		 * wire fw->ready_pin on this R2 module; see that comment).  On a unit
		 * where this net genuinely carries CC35 GPIO17 -- a hand-reworked r1
		 * unit, not the stock R2 module -- there is one slave->master wire and
		 * it already carries READY flow control; the firmware (built with
		 * CC3501E_ATTN_PULSE) gives it an edge when an event is queued while
		 * the bridge is idle.  Draining on ANY rising edge is safe -- an empty
		 * ring answers with an empty list -- so the host never has to tell
		 * attention from an ordinary re-arm.
		 *
		 * BODGE-GATED: this net is a rev-1 wire, absent on the stock EVK,
		 * which is why CONFIG_ALP_SDK_CC3501E_EVENT_IRQ stays default-off.
		 * The alias existing does nothing on its own.
		 */
		cc3501e-attn = &cc3501e_attn;
	};

	/* Node the cc3501e-attn alias points at; `gpios` is what
	 * GPIO_DT_SPEC_GET(DT_ALIAS(cc3501e_attn), gpios) reads. */
	/* NO compatible: GPIO_DT_SPEC_GET() only needs the `gpios` phandle-array.
	 * Declaring "alp,pin-array" here made a SECOND node of that compatible and
	 * broke the SDK's pin-array resolution outright -- bridge bring-up failed
	 * with err=-1 ("SPI bus 1 / WIFI_EN+nRESET absent?") because alp_pins no
	 * longer resolved. Bench-caught 2026-08-26. */
	cc3501e_attn: cc3501e-attn {
		compatible = "alp,cc3501e-attn";
		gpios = <&gpio2 6 GPIO_ACTIVE_HIGH>;
	};

	/*
	 * Compact 2-entry control array for the SoM-internal CC3501E control
	 * nets, in the order the app's CC3501E_PIN_* indices expect.  These are
	 * NOT E1M edge pads, so this bring-up app intentionally does NOT use the
	 * 52-slot positional E1M map; a production board file appends such
	 * SoM-internal control nets after the E1M pad slots.  No READY entry
	 * here -- P2_6/&gpio2 stays enabled above only for the cc3501e-attn node,
	 * which reads it directly, not through this array. */
	alp_pins: alp-pins {
		compatible = "alp,pin-array";
		gpios = <&lpgpio 5 GPIO_ACTIVE_HIGH>, /* [0] WIFI_EN     (P15_5)      */
			<&lpgpio 1 GPIO_ACTIVE_HIGH>; /* [1] E_WIFI.NRST (P15_1_FLEX) */
	};
};

/*
 * The M55-HP TCM global windows (ITCM 0x50000000, DTCM 0x50800000) come from
 * the board devicetree; nothing to add here.
 */
```

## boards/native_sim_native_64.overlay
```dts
/*
 * Copyright 2026 Alp Lab AB
 * SPDX-License-Identifier: Apache-2.0
 *
 * Host-emulated stand-ins for aen-cc3501e-gpio under native_sim, so the
 * example builds in CI (twister build_only) with no silicon.
 *
 *   - alp-spi1  -> an emulated SPI controller (no slave attached, so the
 *                  transceive path runs but reads back 0x00; the build, not
 *                  a live round-trip, is what this target proves).  The
 *                  GPIO-proxy ops therefore time out under native_sim and
 *                  the GPIO_TEST contract lines print FAIL -- expected, the
 *                  PASS/FAIL contract is a SILICON bench signal, not a CI one.
 *   - alp,pin-array -> the two SoM-internal CC3501E control nets, in the
 *                  SAME order the app's CC3501E_BRIDGE_PIN_* indices expect:
 *                    [0] WIFI_EN  (Alif P15_5)
 *                    [1] E_WIFI.NRST (Alif P15_1_FLEX)
 *                  This app uses its own compact 2-pin control array (these
 *                  nets are not E1M edge pads), not the 52-slot positional
 *                  E1M map the portable IO examples use.
 */

#include <zephyr/dt-bindings/gpio/gpio.h>

/ {
    aliases {
        alp-spi1 = &spi1_emul;
    };

    gpio_emul0: gpio_emul0 {
        compatible = "zephyr,gpio-emul";
        status = "okay";
        gpio-controller;
        rising-edge;
        falling-edge;
        #gpio-cells = <2>;
        ngpios = <8>;
    };

    alp_pins: alp-pins {
        compatible = "alp,pin-array";
        gpios = <&gpio_emul0 5 GPIO_ACTIVE_HIGH>,   /* [0] WIFI_EN     (P15_5)      */
                <&gpio_emul0 1 GPIO_ACTIVE_HIGH>;   /* [1] E_WIFI.NRST (P15_1_FLEX) */
    };

    /* Stand-in for the microSD slot: a RAM disk with the same disk name,
     * so FatFs has a volume to bind to in this build-only target.
     */
    ramdisk0 {
        compatible = "zephyr,ram-disk";
        disk-name = "SD";
        sector-size = <512>;
        sector-count = <128>;
    };

    soc {
        spi1_emul: spi@200 {
            compatible = "zephyr,spi-emul-controller";
            status = "okay";
            reg = <0 0x200 4>;
            #address-cells = <1>;
            #size-cells = <0>;
        };
    };
};
```

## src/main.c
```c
/*
 * Copyright 2026 Alp Lab AB
 * SPDX-License-Identifier: Apache-2.0
 *
 * aen-sdcard-file -- write, read back and list a file on the E1M-EVK microSD
 * card (slot J7) with FatFs, from the Alif Ensemble E8 M55-HE.
 *
 * ==== THE PATH FROM main() TO THE CARD ==============================
 *
 *   SoC SD host (sdhc0, SD "B" pads P13_0..3 / P14_0 / P14_1)
 *     -> carrier SDIO mux U38/U39 (select strapped to the microSD slot by
 *        header P18 open; enable /E = E1M IO20, active low)
 *     -> microSD card in J7
 *
 * The e1m_evk_microsd shield (added in CMakeLists.txt) turns sdhc0 on and
 * declares the card as the Zephyr disk "SD". `libraries: [fatfs]` in
 * board.yaml selects FatFs. So the only thing this app must do by hand is
 * open the mux.
 *
 * ==== WHY THE CC3501E IS INVOLVED ===================================
 *
 * On the E1M-AEN SoMs the E1M IO20 pad is wired to the on-module CC3501E,
 * not to an Alif pin. With CONFIG_ALP_SDK_GPIO_CC3501E_PROXY=y a plain
 * alp_gpio_open(ALP_E1M_GPIO_IO20) reaches it over the inter-chip SPI
 * bridge -- but only once the bridge is up. So the order is:
 *
 *   1. cc3501e_bridge_bringup()   power + reset the CC3501E, PING it
 *   2. IO20 low                   mux on: the card is now wired to sdhc0
 *   3. fs_mount("/SD:")           first time the SD stack talks to the card
 *
 * The SD host driver never touches the card before step 3, but that only
 * orders the SD *traffic*; it does not make the carrier safe (see below).
 *
 * ==== CARRIER REQUIREMENT: REWORKED U38/U39 =========================
 *
 * Run this ONLY on a carrier whose U38/U39 are the reworked 74LV3257 bus
 * switches. The stock 74LVC157 is unidirectional and always drives its Y
 * outputs (the selected input when /E is low, forced LOW when /E is high),
 * and those Y pins sit on the same nets as the SoC's own SD pads. So the
 * stock part fights the SoC's SD drivers on EITHER /E state -- leaving the
 * mux disabled is NOT safe (see include/alp/boards/alp_e1m_evk.h, "SD ...
 * CAN NEVER WORK through the stock 74LVC157"). This example has no build
 * or runtime gate for that: knowing your carrier is your responsibility.
 *
 * ==== DMA AND DTCM ==================================================
 *
 * The buffers below are ordinary statics, so they land in the M55's DTCM.
 * The SD host's DMA engine cannot reach DTCM; the driver notices and copies
 * through a buffer in SRAM0 (CONFIG_SDHC_DWC_BOUNCE_BUFFER), so nothing here
 * needs a special section.
 */

#include <stdio.h>
#include <string.h>

#include <zephyr/fs/fs.h>
#include <zephyr/kernel.h>
#include <ff.h>

#include <alp/e1m_pinout.h>
#include <alp/peripheral.h>

#include "cc3501e_bridge.h"

#define MNT       "/SD:"
#define FILE_PATH MNT "/alp_sdcard_file.txt"

static FATFS             fat;
static struct fs_mount_t mnt = {
	.type      = FS_FATFS,
	.mnt_point = MNT,
	.fs_data   = &fat,
};

static char wbuf[4096];
static char rbuf[sizeof(wbuf)];

/* Steps 1 and 2: bridge up, then drive the SDIO mux enable low. */
static int sd_mux_enable(void)
{
	static cc3501e_t fw;
	alp_status_t     s = cc3501e_bridge_bringup(&fw);

	printf("[sd] CC3501E bridge bring-up -> %d\n", (int)s);
	if (s != ALP_OK) {
		return -1;
	}

	alp_gpio_t *en = alp_gpio_open(ALP_E1M_GPIO_IO20);

	if (en == NULL) {
		printf("[sd] IO20 open failed\n");
		return -1;
	}
	if (alp_gpio_configure(en, ALP_GPIO_OUTPUT, ALP_GPIO_PULL_NONE) != ALP_OK ||
	    alp_gpio_write(en, false) != ALP_OK) {
		printf("[sd] IO20 drive low failed\n");
		return -1;
	}
	printf("[sd] SDIO mux enabled (IO20 low)\n");
	return 0;
}

/* Write a file, sync it to the card, read it back and compare. */
static int write_read_back(void)
{
	struct fs_file_t f;
	ssize_t          n;
	int              rc;

	for (size_t i = 0; i < sizeof(wbuf); i++) {
		wbuf[i] = (char)('a' + i % 26);
	}

	fs_file_t_init(&f);
	rc = fs_open(&f, FILE_PATH, FS_O_CREATE | FS_O_WRITE | FS_O_TRUNC);
	if (rc != 0) {
		printf("[fs] open for write -> %d\n", rc);
		return rc;
	}
	n = fs_write(&f, wbuf, sizeof(wbuf));
	/* fs_sync() is what makes the data survive a power cut: without it the
	 * last cluster and the directory entry may still sit in FatFs's cache.
	 */
	rc = fs_sync(&f);
	fs_close(&f);
	printf("[fs] wrote %d B, sync -> %d\n", (int)n, rc);
	if (n != (ssize_t)sizeof(wbuf) || rc != 0) {
		return -1;
	}

	fs_file_t_init(&f);
	rc = fs_open(&f, FILE_PATH, FS_O_READ);
	if (rc != 0) {
		printf("[fs] open for read -> %d\n", rc);
		return rc;
	}
	n = fs_read(&f, rbuf, sizeof(rbuf));
	fs_close(&f);

	bool same = n == (ssize_t)sizeof(rbuf) && memcmp(wbuf, rbuf, sizeof(rbuf)) == 0;

	printf("[fs] read %d B, match=%d\n", (int)n, same);
	return same ? 0 : -1;
}

static void list_root(void)
{
	struct fs_dir_t  dir;
	struct fs_dirent ent;

	fs_dir_t_init(&dir);
	if (fs_opendir(&dir, MNT) != 0) {
		printf("[fs] opendir failed\n");
		return;
	}
	printf("[fs] %s contents:\n", MNT);
	while (fs_readdir(&dir, &ent) == 0 && ent.name[0] != '\0') {
		printf("  %s %-32s %u\n",
		       ent.type == FS_DIR_ENTRY_DIR ? "d" : "f",
		       ent.name,
		       (unsigned int)ent.size);
	}
	fs_closedir(&dir);
}

static void report_space(void)
{
	struct fs_statvfs sv;

	if (fs_statvfs(MNT, &sv) == 0) {
		uint64_t total = (uint64_t)sv.f_frsize * sv.f_blocks;
		uint64_t free  = (uint64_t)sv.f_frsize * sv.f_bfree;

		printf("[fs] %u MiB free of %u MiB\n",
		       (unsigned int)(free >> 20),
		       (unsigned int)(total >> 20));
	}
}

int main(void)
{
	int rc;

	if (sd_mux_enable() != 0) {
		printf("RESULT FAIL: mux\n");
		return 0;
	}

	rc = fs_mount(&mnt);
	printf("[fs] mount %s -> %d\n", MNT, rc);
	if (rc != 0) {
		printf("RESULT FAIL: mount\n");
		return 0;
	}

	rc = write_read_back();
	list_root();
	report_space();

	/* Leave the card clean: the example's file is not user data. */
	fs_unlink(FILE_PATH);
	fs_unmount(&mnt);

	printf("RESULT %s: file\n", rc == 0 ? "PASS" : "FAIL");
	return 0;
}
```

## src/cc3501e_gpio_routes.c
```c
/*
 * SPDX-License-Identifier: Apache-2.0
 * Copyright 2026 Alp Lab AB
 *
 * Auto-generated for aen-sdcard-file by scripts/gen_cc3501e_gpio_routes.py
 * from metadata/e1m_modules/E1M-AEN801.yaml `pad_routes:` (resolved for
 * hw_rev=r2 -- see metadata/e1m_modules/aen/hw-revisions.yaml
 * `pad_route_overrides:` when board.yaml sets `som.hw_rev:`).
 * DO NOT EDIT BY HAND -- regenerate:
 *   python3 scripts/gen_cc3501e_gpio_routes.py
 *
 * Strong override of the WEAK cc3501e_gpio_routes[] /
 * cc3501e_gpio_route_count in
 * src/backends/gpio/cc3501e_proxy_routes_weak.c.  Maps the portable E1M
 * GPIO pin_id (alp_gpio_open(ALP_E1M_GPIO_IOxx)) to the RAW CC3501E GPIO
 * index the inter-chip bridge drives, so an alp_gpio_* call on a proxied
 * E1M IO is routed over the bridge while the Alif's own pins delegate to
 * the platform driver.
 *
 * Pads whose CC3501E target is bridge-reserved (the transport's own
 * SPI0 / console pads, or the bridge's own READY/host-IRQ + SPI0-CS
 * lines) are never emitted here -- the firmware's gpio_pad_reserved()
 * would refuse them at runtime, so the generator excludes them at
 * generation time instead (issue #1859).
 *
 * The revision-dependent pin guard (issue #2144) is NOT emitted here --
 * it does not depend on this board's own routes, so it lives in ONE
 * SDK-owned generated file instead of a per-app copy:
 * src/backends/gpio/cc3501e_rev_dependent_pins.c.
 */

#include <stdint.h>
#include <stddef.h>

#include <alp/chips/cc3501e.h>
#include <alp/e1m_pinout.h>

const cc3501e_gpio_route_t cc3501e_gpio_routes[] = {
	{ ALP_E1M_GPIO_IO8, 30u }, /* I2S0 74LVC157 /E, active low. CC3501E-proxied, not an Alif pin. */
	{ ALP_E1M_GPIO_IO9, 12u }, /* Reset output to the PCIe IO expander. */
	{ ALP_E1M_GPIO_IO10, 35u }, /* Drive high to enable I2C mux to the PCIe slot. */
	{ ALP_E1M_GPIO_IO11, 2u },  /* USB2 TMUXHS221 select: 0 = USB connector, 1 = M.2 E-key USB. */
	{ ALP_E1M_GPIO_IO13, 13u }, /* I2S0 74LVC157 S; 0 = TAS2563 amps, 1 = M.2 E-key I2S. */
	{ ALP_E1M_GPIO_IO15, 14u }, /* BMI323 INT1 (data-ready / motion / FIFO); CC3501E GPIO14. */
	{ ALP_E1M_GPIO_IO18, 18u }, /* M.2 E-key SDIO-path wake (active-low). */
	{ ALP_E1M_GPIO_IO19, 19u }, /* M.2 E-key UART-path wake (active-low). */
	{ ALP_E1M_GPIO_IO20, 26u }, /* SDIO 74LVC157 /E; drive low to enable mux. */
};

const size_t cc3501e_gpio_route_count =
    sizeof(cc3501e_gpio_routes) / sizeof(cc3501e_gpio_routes[0]);
```
